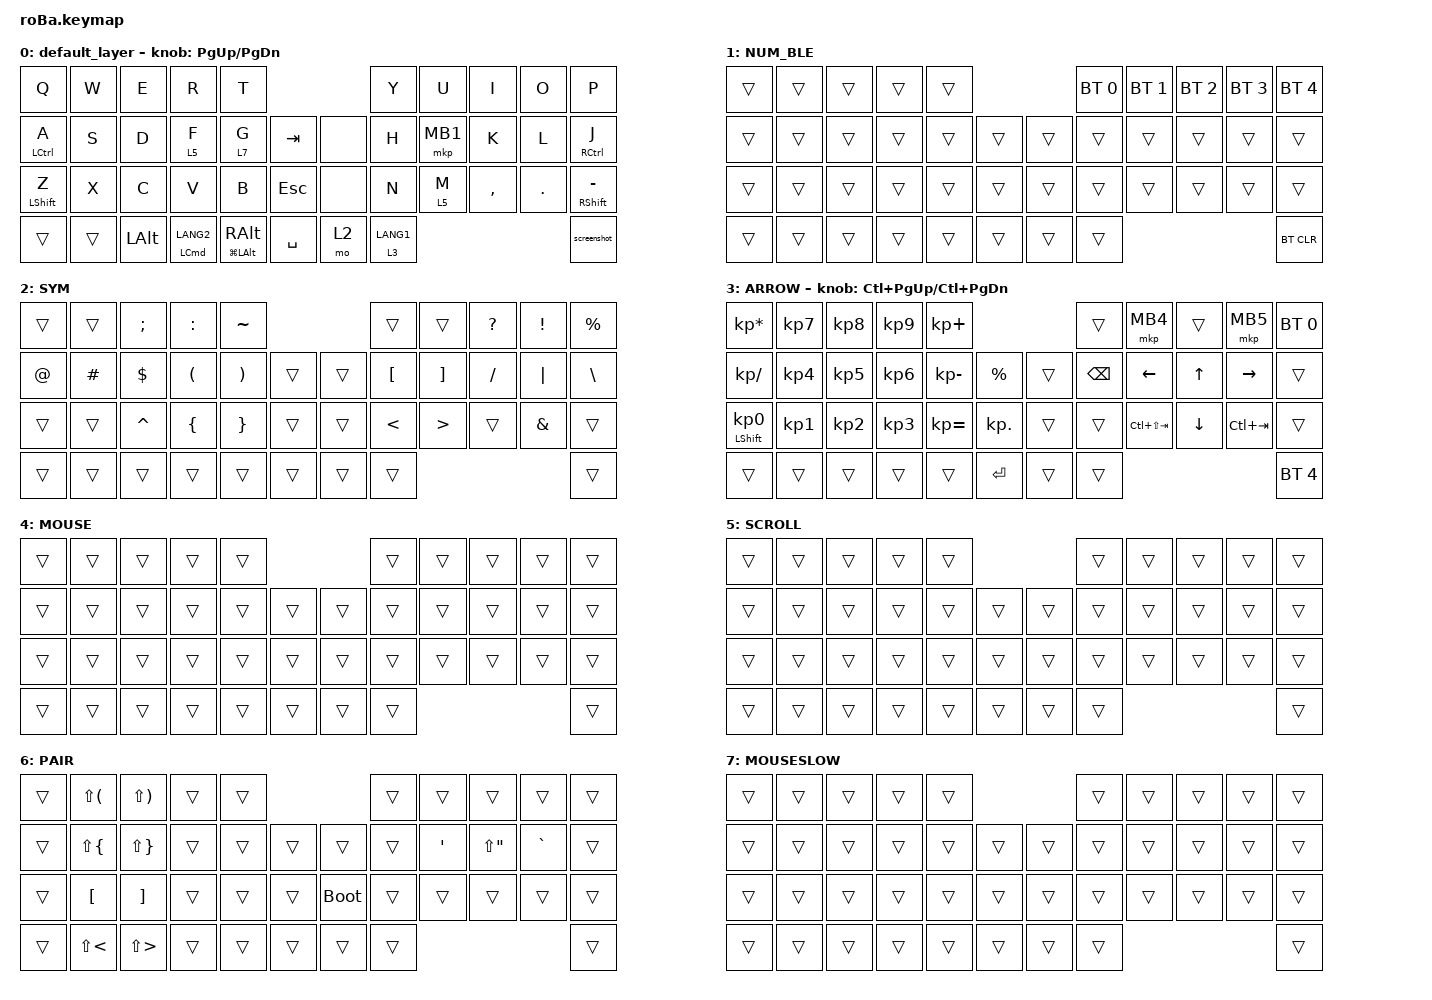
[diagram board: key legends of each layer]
#include <input/processors.dtsi>
#include <behaviors.dtsi>
#include <dt-bindings/zmk/bt.h>
#include <dt-bindings/zmk/keys.h>
#include <dt-bindings/zmk/pointing.h>

#define MOUSE 4
#define SCROLL 5
#define NUM 6
#define MOUSESLOW 7

&mt {
    flavor = "balanced";
    quick-tap-ms = <0>;
};

&trackball {
    automouse-layer = <4>;
    scroll-layers = <5>;

    // arrows {
    //     layers = <3>;
    //     bindings =
    //         <&kp RIGHT_ARROW>,
    //         <&kp LEFT_ARROW>,
    //         <&kp UP_ARROW>,
    //         <&kp DOWN_ARROW>;
    //     tick = <10>;
    //     wait-ms = <5>;
    //     tap-ms = <5>;
    // };
};

/ {
    combos {
        compatible = "zmk,combos";

        right_click {
            bindings = <&mkp MB2>;
            key-positions = <19 18>;
        };

        s_d_quote {
            bindings = <&kp SINGLE_QUOTE>;
            key-positions = <19 20>;
        };

        b_quote {
            bindings = <&kp GRAVE>;
            key-positions = <31 32>;
        };
    };

    macros {
        screenshot: screenshot {
            compatible = "zmk,behavior-macro";
            #binding-cells = <0>;
            bindings = <&kp LS(LG(NUMBER_4))>;
            label = "SCREENSHOT";
        };

        alt_cmd: alt_cmd {
            compatible = "zmk,behavior-macro";
            #binding-cells = <0>;
            bindings = <&kp LG(LEFT_ALT)>;
            label = "ALT_CMD";
        };

        cmd_cmd_a: aqu {
            compatible = "zmk,behavior-macro";
            #binding-cells = <0>;
            bindings = <&kp LG(RG(A))>;
            label = "AQ";
        };
    };

    behaviors {
        aq_alt_cmd: aq_alt_cmd {
            compatible = "zmk,behavior-hold-tap";
            label = "AQ_ALT_CMD";
            #binding-cells = <2>;
            tapping-term-ms = <200>;
            flavor = "tap-preferred";
            bindings = <&alt_cmd>, <&cmd_cmd_a>;
        };
    };

    keymap {
        compatible = "zmk,keymap";

        default_layer {
            bindings = <
&kp Q             &kp W   &kp E         &kp R                   &kp T                                             &kp Y        &kp U     &kp I      &kp O       &kp P
&mt LCTRL A       &kp S   &kp D         &lt 5 F                 &lt 7 G                     &kp TAB        &none  &kp H        &mkp MB1  &kp K      &kp L       &mt RCTRL J
&mt LEFT_SHIFT Z  &kp X   &kp C         &kp V                   &kp B                       &kp ESC        &none  &kp N        &lt 5 M   &kp COMMA  &kp PERIOD  &mt RIGHT_SHIFT MINUS
&trans            &trans  &kp LEFT_ALT  &mt LEFT_COMMAND LANG2  &mt LG(LEFT_ALT) RIGHT_ALT  &kp SPACE      &mo 2  &lt 3 LANG1                                   &screenshot
            >;

            sensor-bindings = <&inc_dec_kp PG_UP PAGE_DOWN>;
        };

        NUM_BLE {
            bindings = <
&trans  &trans  &trans  &trans  &trans                      &bt BT_SEL 0  &bt BT_SEL 1  &bt BT_SEL 2  &bt BT_SEL 3  &bt BT_SEL 4
&trans  &trans  &trans  &trans  &trans  &trans      &trans  &trans        &trans        &trans        &trans        &trans
&trans  &trans  &trans  &trans  &trans  &trans      &trans  &trans        &trans        &trans        &trans        &trans
&trans  &trans  &trans  &trans  &trans  &trans      &trans  &trans                                                  &bt BT_CLR
            >;
        };

        SYM {
            bindings = <
&trans  &trans    &kp SEMICOLON  &kp COLON             &kp TILDE                                  &trans            &trans             &kp QUESTION  &kp EXCLAMATION  &kp PERCENT
&kp AT  &kp HASH  &kp DLLR       &kp LEFT_PARENTHESIS  &kp RIGHT_PARENTHESIS  &trans      &trans  &kp LEFT_BRACKET  &kp RIGHT_BRACKET  &kp SLASH     &kp PIPE         &kp BACKSLASH
&trans  &trans    &kp CARET      &kp LEFT_BRACE        &kp RIGHT_BRACE        &trans      &trans  &kp LESS_THAN     &kp GREATER_THAN   &trans        &kp AMPERSAND    &trans
&trans  &trans    &trans         &trans                &trans                 &trans      &trans  &trans                                                              &trans
            >;
        };

        ARROW {
            bindings = <
&kp KP_MULTIPLY             &kp KP_NUMBER_7  &kp KP_NUMBER_8  &kp KP_NUMBER_9  &kp KP_PLUS                            &trans         &mkp MB4         &trans    &mkp MB5     &bt BT_SEL 0
&kp KP_DIVIDE               &kp KP_NUMBER_4  &kp KP_NUMBER_5  &kp KP_NUMBER_6  &kp KP_MINUS  &kp PERCENT      &trans  &kp BACKSPACE  &kp LEFT         &kp UP    &kp RIGHT    &trans
&mt LEFT_SHIFT KP_NUMBER_0  &kp KP_NUMBER_1  &kp KP_NUMBER_2  &kp KP_NUMBER_3  &kp KP_EQUAL  &kp KP_DOT       &trans  &trans         &kp LC(LS(TAB))  &kp DOWN  &kp LC(TAB)  &trans
&trans                      &trans           &trans           &trans           &trans        &kp ENTER        &trans  &trans                                                 &bt BT_SEL 4
            >;

            sensor-bindings = <&inc_dec_kp LC(PAGE_UP) LC(PAGE_DOWN)>;
        };

        MOUSE {
            bindings = <
&trans  &trans  &trans  &trans  &trans                      &trans  &trans  &trans  &trans  &trans
&trans  &trans  &trans  &trans  &trans  &trans      &trans  &trans  &trans  &trans  &trans  &trans
&trans  &trans  &trans  &trans  &trans  &trans      &trans  &trans  &trans  &trans  &trans  &trans
&trans  &trans  &trans  &trans  &trans  &trans      &trans  &trans                          &trans
            >;
        };

        SCROLL {
            bindings = <
&trans  &trans  &trans  &trans  &trans                      &trans  &trans  &trans  &trans  &trans
&trans  &trans  &trans  &trans  &trans  &trans      &trans  &trans  &trans  &trans  &trans  &trans
&trans  &trans  &trans  &trans  &trans  &trans      &trans  &trans  &trans  &trans  &trans  &trans
&trans  &trans  &trans  &trans  &trans  &trans      &trans  &trans                          &trans
            >;
        };

        PAIR {
            bindings = <
&trans  &kp LS(LPAR)  &kp LS(RPAR)  &trans  &trans                           &trans  &trans   &trans       &trans     &trans
&trans  &kp LS(LBRC)  &kp LS(RBRC)  &trans  &trans  &trans      &trans       &trans  &kp SQT  &kp LS(DQT)  &kp GRAVE  &trans
&trans  &kp LBKT      &kp RBKT      &trans  &trans  &trans      &bootloader  &trans  &trans   &trans       &trans     &trans
&trans  &kp LS(LT)    &kp LS(GT)    &trans  &trans  &trans      &trans       &trans                                   &trans
            >;
        };

        MOUSESLOW {
            bindings = <
&trans  &trans  &trans  &trans  &trans                      &trans  &trans  &trans  &trans  &trans
&trans  &trans  &trans  &trans  &trans  &trans      &trans  &trans  &trans  &trans  &trans  &trans
&trans  &trans  &trans  &trans  &trans  &trans      &trans  &trans  &trans  &trans  &trans  &trans
&trans  &trans  &trans  &trans  &trans  &trans      &trans  &trans                          &trans
            >;
        };
    };
};
